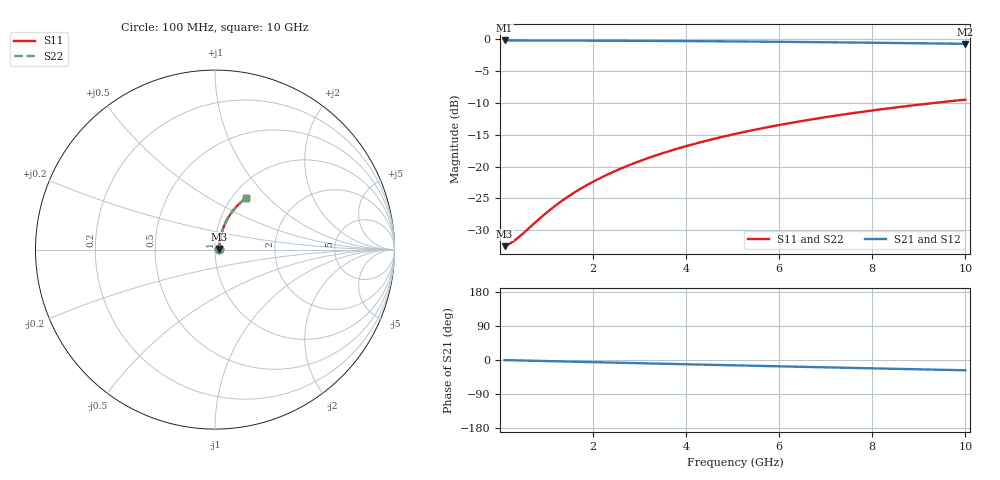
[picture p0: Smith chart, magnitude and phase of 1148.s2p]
# Hz S RI R 50.00
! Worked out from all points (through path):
!   100 points, 100 MHz to 10 GHz, reference 50 ohm
!   highest |S21| = -0.21 dB at 100 MHz (marker M1); lowest = -0.7 dB at 10 GHz (marker M2)
!   group delay of S21, straight-line fit = 7.56 ps
!   lowest |S11| = -32.5 dB at 100 MHz (marker M3), VSWR 1.05, Z = 52.4 + j0.367 ohm
!   |S11| at or under -10 dB: start of sweep to 9.35 GHz
!   |S22| runs from -32.5 to -9.5 dB; largest |S21 - S12| = 0
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1e8  0.0235 0.0035  0.9765 -0.00481  0.9765 -0.00481  0.0235 0.0035
2e8  0.0237 0.00699  0.9763 -0.00962  0.9763 -0.00962  0.0237 0.00699
3e8  0.0239 0.0105  0.9761 -0.0144  0.9761 -0.0144  0.0239 0.0105
4e8  0.0241 0.014  0.9759 -0.0192  0.9759 -0.0192  0.0241 0.014
9e8  0.0255 0.0314  0.9744 -0.0432  0.9744 -0.0432  0.0255 0.0314
1.2e9  0.0267 0.0418  0.9731 -0.0575  0.9731 -0.0575  0.0267 0.0418
1.5e9  0.0282 0.0521  0.9716 -0.0718  0.9716 -0.0718  0.0282 0.0521
1.8e9  0.03 0.0624  0.9697 -0.0861  0.9697 -0.0861  0.03 0.0624
2.1e9  0.0321 0.0726  0.9675 -0.1002  0.9675 -0.1002  0.0321 0.0726
2.5e9  0.0353 0.0861  0.9641 -0.119  0.9641 -0.119  0.0353 0.0861
2.9e9  0.039 0.0994  0.9602 -0.1375  0.9602 -0.1375  0.039 0.0994
3.4e9  0.0444 0.1158  0.9546 -0.1605  0.9546 -0.1605  0.0444 0.1158
3.8e9  0.0492 0.1287  0.9495 -0.1786  0.9495 -0.1786  0.0492 0.1287
4.2e9  0.0545 0.1413  0.9439 -0.1965  0.9439 -0.1965  0.0545 0.1413
4.6e9  0.0603 0.1536  0.9378 -0.2141  0.9378 -0.2141  0.0603 0.1536
5.1e9  0.0681 0.1687  0.9296 -0.2358  0.9296 -0.2358  0.0681 0.1687
5.9e9  0.0819 0.1917  0.9149 -0.2694  0.9149 -0.2694  0.0819 0.1917
6.7e9  0.0973 0.2134  0.8986 -0.3017  0.8986 -0.3017  0.0973 0.2134
7.5e9  0.1141 0.2336  0.8809 -0.3325  0.8809 -0.3325  0.1141 0.2336
8.4e9  0.1344 0.2545  0.8593 -0.3654  0.8593 -0.3654  0.1344 0.2545
9.2e9  0.1535 0.2714  0.8389 -0.393  0.8389 -0.393  0.1535 0.2714
1e10  0.1735 0.2867  0.8175 -0.419  0.8175 -0.419  0.1735 0.2867
